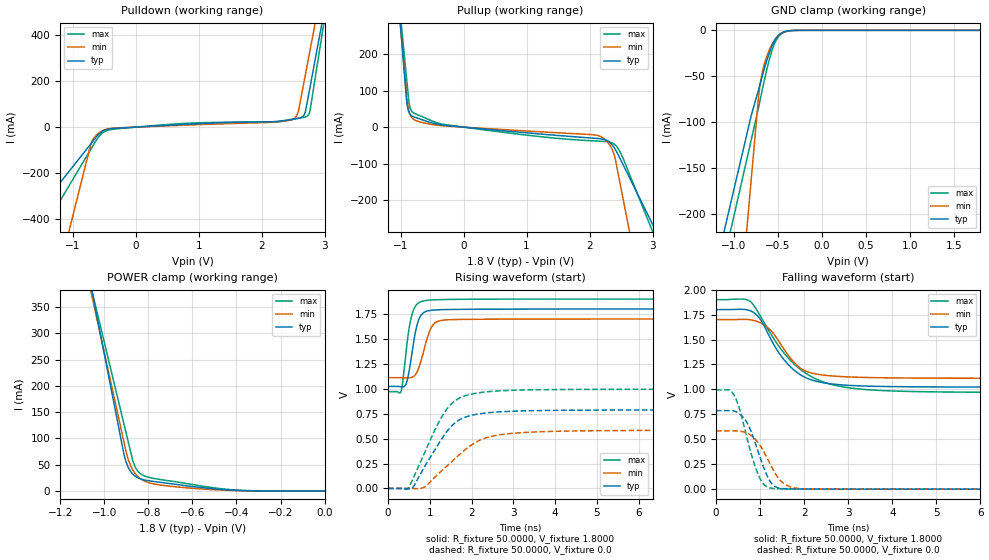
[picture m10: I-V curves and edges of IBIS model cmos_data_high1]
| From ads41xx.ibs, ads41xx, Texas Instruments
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|   Model cmos_data_high1
[Model]   cmos_data_high1
Model_type 3-state
Polarity   Non-Inverting
Enable   Active-High
Vmeas=0.9
C_comp   2.0750pF   1.9000pF   2.2500pF
[Temperature Range]   25.0000   0.1250k   -40.0000
[Voltage Range]   1.8000V   1.7000V   1.9000V
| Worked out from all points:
|   slope of the pulldown table from 0 to 0.27 V, typ, clamps not added: 61.3 ohm
|   slope of the pullup table from 0 to 0.27 V, typ, clamps not added: 62.7 ohm
|   GND clamp passes 1 mA (typ) near -0.40 V on its own axis
|   POWER clamp passes 1 mA (typ) near -0.39 V on its own axis
|   rising waveform, R_fixture 50.0000, V_fixture 1.8000: 20-80 % time 193ps typ, 247ps min, 179ps max; typ from 1.02 V to 1.8 V
|   rising waveform, R_fixture 50.0000, V_fixture 0.0: 20-80 % time 738ps typ, 988ps min, 702ps max; typ from 0 V to 0.788 V
|   falling waveform, R_fixture 50.0000, V_fixture 1.8000: 20-80 % time 731ps typ, 609ps min, 1.02ns max; typ from 1.8 V to 1.02 V
|   falling waveform, R_fixture 50.0000, V_fixture 0.0: 20-80 % time 389ps typ, 451ps min, 372ps max; typ from 0.787 V to 0 V
[Pulldown]
|Voltage   I(typ)   I(min)   I(max)
-1.8V     -446.2mA   -1.258A    -592.4mA
-720mV    -75.2mA    -81.71mA   -99.24mA
-640mV    -47.05mA   -39.01mA   -62.92mA
-460mV    -10.5mA    -8.223mA   -14.9mA
710mV     11.19mA    7.69mA     15.22mA
2.48V     34.06mA    32.63mA    32.37mA
2.55V     37.27mA    46.71mA    36.28mA
2.58V     38.61mA    65.94mA    37.79mA
2.67V     51.08mA    191.5mA    42.12mA
2.72V     102.4mA    263.3mA    46.79mA
2.77V     175.5mA    335mA      73.69mA
3.6V      1.39A      1.526A     1.509A
[Pullup]
|Voltage   I(typ)   I(min)   I(max)
-1.8V     1.985A     1.8A       1.7A
-910mV    78.41mA    98.35mA    140.6mA
-890mV    53.38mA    64.8mA     105.5mA
-860mV    37.57mA    39.26mA    59.46mA
-780mV    27.41mA    19.76mA    37.54mA
-260mV    4.234mA    2.841mA    6.131mA
2.16V     -31.57mA   -24.52mA   -38.3mA
2.28V     -36.75mA   -39.86mA   -39.94mA
2.38V     -53.19mA   -69.91mA   -45.29mA
2.47V     -80.69mA   -141.1mA   -62.92mA
2.55V     -108.6mA   -211.4mA   -92.55mA
3.6V      -474.3mA   -1.134A    -541.5mA
[GND_clamp]
|Voltage   I(typ)   I(min)   I(max)
-1.8V     -503.4mA   -1.249A    -541.8mA
-800mV    -92.85mA   -162.4mA   -119.5mA
-720mV    -65.72mA   -75.52mA   -85.37mA
-690mV    -55.13mA   -53.43mA   -71.78mA
-670mV    -48.11mA   -43.79mA   -62.73mA
-620mV    -31.66mA   -27.43mA   -41.38mA
-560mV    -15.91mA   -14.53mA   -20.65mA
-520mV    -8.804mA   -8.629mA   -11.32mA
-470mV    -3.672mA   -3.929mA   -4.772mA
-390mV    -710.2uA   -818.1uA   -1.01mA
-280mV    -32.94uA   -54.05uA   -57.7uA
1.8V      5.757nA    95.41nA    1.717nA
[POWER_clamp]
|Voltage   I(typ)   I(min)   I(max)
-1.8V     1.973A     1.793A     1.681A
-1.09V    453.9mA    436.2mA    440.9mA
-1.05V    368.3mA    359.7mA    371.1mA
-910mV    68.83mA    92.21mA    126.6mA
-890mV    43.87mA    58.68mA    91.62mA
-870mV    31.74mA    39.51mA    56.69mA
-860mV    28.17mA    33.2mA     45.72mA
-840mV    23.7mA     24.62mA    34.17mA
-800mV    19.54mA    16.1mA     26.14mA
-490mV    3.546mA    2.034mA    5.283mA
-340mV    343.4uA    193uA      468.4uA
0V        5.757nA    -261.2nA   2.433nA
[Ramp]
| variable   typ   min   max
dV/dt_r  0.4726/0.7385n   0.3503/0.9878n   0.5970/0.7015n
dV/dt_f  0.4662/0.7302n   0.3535/0.6091n   0.5577/1.0206n
R_load = 50.0000
[Rising Waveform]
R_fixture= 50.0000
V_fixture= 1.8000
V_fixture_min= 1.7000
V_fixture_max= 1.9000
|time   V(typ)   V(min)   V(max)
0s        1.023V     1.111V     970.8mV
300ps     1.02V      1.111V     962.9mV
420ps     1.038V     1.109V     1.326V
510ps     1.193V     1.11V      1.623V
600ps     1.432V     1.121V     1.779V
720ps     1.677V     1.193V     1.858V
900ps     1.774V     1.453V     1.885V
1.095ns   1.79V      1.649V     1.892V
1.47ns    1.795V     1.693V     1.896V
14.99ns   1.8V       1.7V       1.9V
[Rising Waveform]
R_fixture= 50.0000
V_fixture= 0.0
V_fixture_min= 0.0
V_fixture_max= 0.0
|time   V(typ)   V(min)   V(max)
0s        782nV      33.56uV    3.016nV
480ps     -3.858mV   -107.5uV   2.964mV
615ps     23.19mV    -1.49mV    114.2mV
870ps     215.3mV    13.64mV    353.2mV
1.395ns   563.7mV    218.8mV    789.6mV
1.695ns   685.2mV    334.3mV    903.2mV
2.13ns    744.8mV    470.2mV    957mV
2.775ns   770.8mV    543.7mV    981.3mV
4.11ns    783.8mV    573.9mV    992.3mV
14.99ns   787.6mV    583.9mV    995.1mV
[Falling Waveform]
R_fixture= 50.0000
V_fixture= 1.8000
V_fixture_min= 1.7000
V_fixture_max= 1.9000
|time   V(typ)   V(min)   V(max)
0s        1.8V       1.7V       1.9V
765ps     1.79V      1.699V     1.885V
990ps     1.712V     1.671V     1.748V
1.215ns   1.529V     1.604V     1.578V
1.5ns     1.322V     1.432V     1.39V
1.83ns    1.173V     1.244V     1.232V
2.34ns    1.075V     1.149V     1.091V
3ns       1.041V     1.125V     1.017V
5.265ns   1.025V     1.112V     973.9mV
14.99ns   1.023V     1.111V     970.4mV
[Falling Waveform]
R_fixture= 50.0000
V_fixture= 0.0
V_fixture_min= 0.0
V_fixture_max= 0.0
|time   V(typ)   V(min)   V(max)
0s        787.3mV    583.9mV    994.8mV
375ps     787.1mV    584.6mV    966.4mV
510ps     762.2mV    582.8mV    837.8mV
645ps     705.7mV    570.6mV    616.9mV
975ps     351.5mV    455.4mV    129.6mV
1.11ns    185.8mV    354.4mV    37.98mV
1.275ns   51.3mV     212.9mV    8.316mV
1.56ns    4.383mV    50.37mV    2.395mV
2.01ns    1.43mV     3.204mV    831.8uV
14.99ns   707.7nV    33.57uV    -31.28nV
